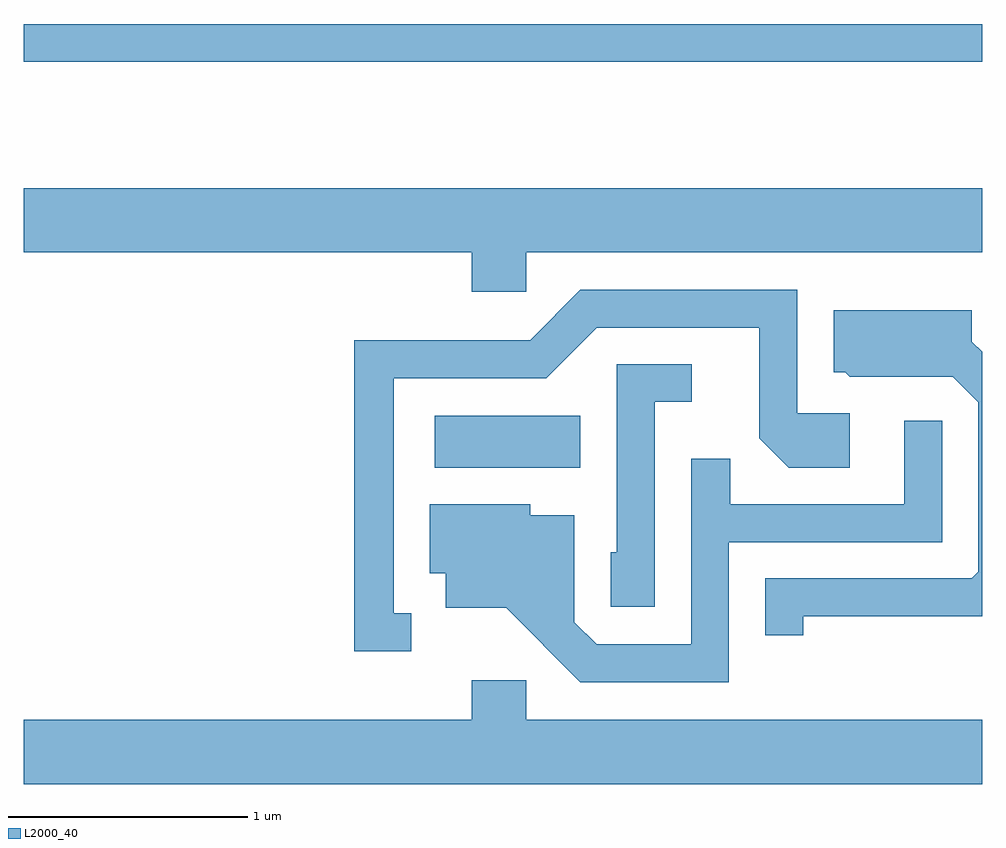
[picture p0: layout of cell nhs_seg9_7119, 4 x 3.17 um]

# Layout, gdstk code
import gdstk
lib = gdstk.Library(unit=1e-6, precision=1e-09)
def R(c, l, rs):  # rectangles x0, y0, x1, y1
    for r in rs: c.add(gdstk.rectangle(r[:2], r[2:], *l))
def P(c, l, *ps):  # polygons
    for p in ps: c.add(gdstk.Polygon(p, *l))
L2000_40 = (2000, 40)

nhs_seg9_7119 = lib.new_cell('nhs_seg9_7119')
R(nhs_seg9_7119, L2000_40, [(397.326,2026.436,397.934,2026.654), (395.611,2028.131,399.611,2028.289)])
P(nhs_seg9_7119, L2000_40, [(397.709,2027.336),(399.611,2027.336),(399.611,2027.604),(395.611,2027.604),(395.611,2027.336),(397.481,2027.336),(397.481,2027.171),(397.709,2027.171)],
  [(397.228,2025.829),(397.154,2025.829),(397.154,2026.811),(397.792,2026.811),(398.002,2027.021),(398.681,2027.021),(398.681,2026.559),(398.804,2026.436),(399.059,2026.436),(399.059,2026.664),(398.839,2026.664),(398.839,2027.179),(397.934,2027.179),(397.724,2026.969),(396.991,2026.969),(396.991,2025.671),(397.228,2025.671)],
  [(398.864,2025.816),(399.611,2025.816),(399.611,2026.92),(399.569,2026.962),(399.569,2027.094),(398.991,2027.094),(398.991,2026.836),(399.039,2026.836),(399.059,2026.816),(399.489,2026.816),(399.596,2026.709),(399.596,2026.002),(399.569,2025.974),(398.706,2025.974),(398.706,2025.738),(398.864,2025.738)],
  [(398.244,2026.711),(398.398,2026.711),(398.398,2026.869),(398.086,2026.869),(398.086,2026.084),(398.061,2026.084),(398.061,2025.856),(398.244,2025.856)],
  [(398.554,2026.126),(399.444,2026.126),(399.444,2026.633),(399.286,2026.633),(399.286,2026.284),(398.559,2026.284),(398.559,2026.473),(398.396,2026.473),(398.396,2025.699),(398.002,2025.699),(397.909,2025.792),(397.909,2026.239),(397.724,2026.239),(397.724,2026.284),(397.306,2026.284),(397.306,2025.996),(397.371,2025.996),(397.371,2025.851),(397.624,2025.851),(397.934,2025.541),(398.554,2025.541)],
  [(399.611,2025.384),(397.709,2025.384),(397.709,2025.549),(397.481,2025.549),(397.481,2025.384),(395.611,2025.384),(395.611,2025.116),(399.611,2025.116)])

lib.write_gds('nhs_seg9_7119.gds')
